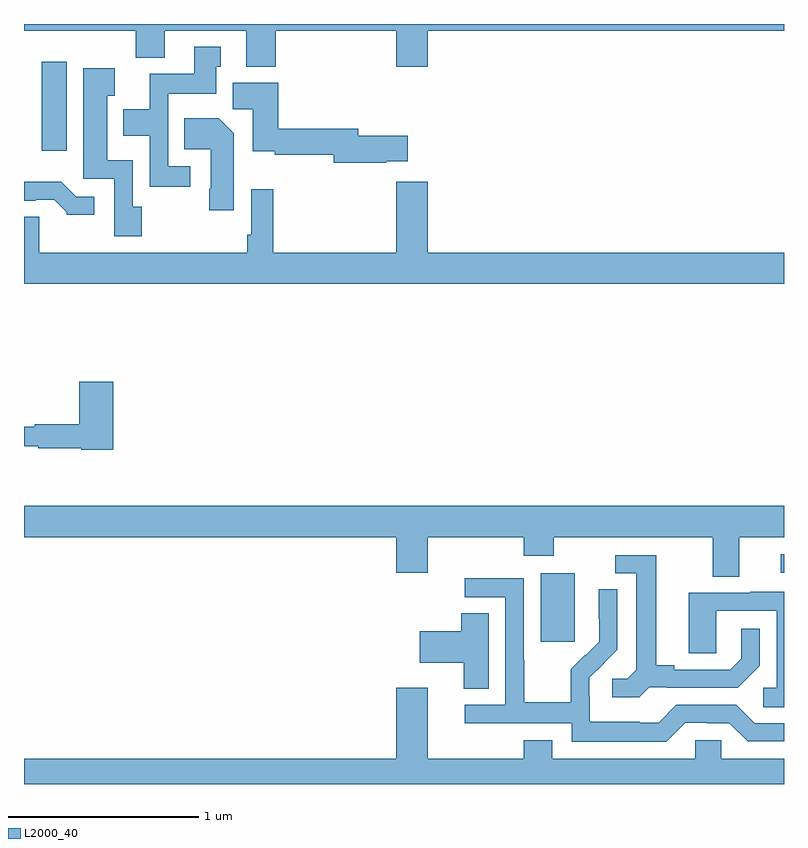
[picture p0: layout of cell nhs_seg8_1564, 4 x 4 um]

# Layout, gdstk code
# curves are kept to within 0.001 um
import gdstk
lib = gdstk.Library(unit=1e-6, precision=1e-09)
def R(c, l, rs):  # rectangles x0, y0, x1, y1
    for r in rs: c.add(gdstk.rectangle(r[:2], r[2:], *l))
def P(c, l, *ps):  # polygons
    for p in ps: c.add(gdstk.Polygon(p, *l))
L2000_40 = (2000, 40)

nhs_seg8_1564 = lib.new_cell('nhs_seg8_1564')
R(nhs_seg8_1564, L2000_40, [(213.719,1082.649,213.898,1083.01), (214.983,1083.012,215,1083.108), (211.094,1085.232,211.225,1085.701)])
P(nhs_seg8_1564, L2000_40, [(212.324,1085.864),(212.96,1085.864),(212.96,1085.676),(213.124,1085.676),(213.124,1085.864),(215,1085.864),(215,1085.9),(211,1085.9),(211,1085.864),(211.589,1085.864),(211.589,1085.723),(211.741,1085.723),(211.741,1085.864),(212.171,1085.864),(212.171,1085.675),(212.324,1085.675)],
  [(211.876,1085.151),(211.758,1085.151),(211.758,1085.534),(212.011,1085.534),(212.011,1085.676),(212.035,1085.676),(212.035,1085.779),(211.895,1085.779),(211.895,1085.638),(211.661,1085.638),(211.661,1085.451),(211.523,1085.451),(211.523,1085.312),(211.662,1085.312),(211.662,1085.043),(211.876,1085.043)],
  [(211.62,1084.938),(211.572,1084.938),(211.572,1085.182),(211.438,1085.182),(211.438,1085.522),(211.477,1085.522),(211.477,1085.668),(211.313,1085.668),(211.313,1085.085),(211.476,1085.085),(211.476,1084.782),(211.62,1084.782)],
  [(212.906,1085.177),(213.019,1085.177),(213.019,1085.312),(212.758,1085.312),(212.758,1085.348),(212.339,1085.348),(212.339,1085.59),(212.099,1085.59),(212.099,1085.452),(212.204,1085.452),(212.204,1085.231),(212.32,1085.231),(212.32,1085.212),(212.63,1085.212),(212.63,1085.17),(212.906,1085.17)],
  [(212.104,1085.326),(212.026,1085.404),(211.843,1085.404),(211.843,1085.24),(211.982,1085.24),(211.982,1085.032),(211.975,1085.032),(211.975,1084.92),(212.104,1084.92)],
  [(215,1084.696),(213.124,1084.696),(213.124,1085.071),(212.96,1085.071),(212.96,1084.696),(212.312,1084.696),(212.312,1085.029),(212.196,1085.029),(212.196,1084.792),(212.176,1084.792),(212.176,1084.696),(211.081,1084.696),(211.081,1084.886),(211,1084.886),(211,1084.532),(215,1084.532)],
  [(211.369,1084.992),(211.275,1084.992),(211.197,1085.071),(211,1085.071),(211,1084.971),(211.061,1084.971),(211.061,1084.974),(211.16,1084.974),(211.224,1084.91),(211.224,1084.895),(211.369,1084.895)],
  [(211.469,1084.018),(211.291,1084.018),(211.291,1083.794),(211.056,1083.794),(211.056,1083.779),(211,1083.779),(211,1083.678),(211.075,1083.678),(211.075,1083.666),(211.302,1083.666),(211.302,1083.658),(211.469,1083.658)],
  [(211,1083.2),(212.96,1083.2),(212.96,1083.012),(213.124,1083.012),(213.124,1083.2),(213.629,1083.2),(213.629,1083.101),(213.789,1083.101),(213.789,1083.2),(214.625,1083.2),(214.625,1082.992),(214.765,1082.992),(214.765,1083.2),(215,1083.2),(215,1083.364),(211,1083.364)],
  [(214.29,1082.409),(214.384,1082.409),(214.384,1082.406),(214.756,1082.406),(214.872,1082.522),(214.872,1082.716),(214.775,1082.716),(214.775,1082.559),(214.718,1082.502),(214.423,1082.502),(214.423,1082.525),(214.327,1082.525),(214.327,1083.105),(214.113,1083.105),(214.113,1083.009),(214.223,1083.009),(214.223,1082.501),(214.176,1082.454),(214.095,1082.454),(214.095,1082.357),(214.238,1082.357)],
  [(214.479,1082.223),(214.595,1082.223),(214.595,1082.22),(214.713,1082.22),(214.809,1082.124),(215,1082.124),(215,1082.22),(214.845,1082.22),(214.749,1082.316),(214.434,1082.316),(214.341,1082.223),(214.241,1082.223),(214.241,1082.227),(213.978,1082.227),(213.978,1082.361),(213.976,1082.361),(213.976,1082.458),(214.122,1082.606),(214.122,1082.924),(214.026,1082.924),(214.026,1082.77),(214.028,1082.77),(214.028,1082.648),(213.957,1082.577),(213.954,1082.58),(213.877,1082.503),(213.877,1082.329),(213.633,1082.329),(213.633,1082.552),(213.63,1082.552),(213.63,1082.982),(213.321,1082.982),(213.321,1082.883),(213.534,1082.883),(213.534,1082.316),(213.321,1082.316),(213.321,1082.22),(213.882,1082.22),(213.882,1082.123),(214.379,1082.123)],
  [(215,1082.911),(214.823,1082.911),(214.823,1082.907),(214.499,1082.907),(214.499,1082.587),(214.644,1082.587),(214.644,1082.811),(214.962,1082.811),(214.962,1082.406),(214.89,1082.406),(214.89,1082.305),(215,1082.305)],
  [(213.445,1082.798),(213.302,1082.798),(213.302,1082.703),(213.084,1082.703),(213.084,1082.537),(213.314,1082.537),(213.314,1082.401),(213.445,1082.401)],
  [(215,1082.032),(214.671,1082.032),(214.671,1082.13),(214.533,1082.13),(214.533,1082.032),(213.781,1082.032),(213.781,1082.131),(213.629,1082.131),(213.629,1082.032),(213.124,1082.032),(213.124,1082.407),(212.96,1082.407),(212.96,1082.032),(211,1082.032),(211,1081.9),(215,1081.9)])

lib.write_gds('nhs_seg8_1564.gds')
